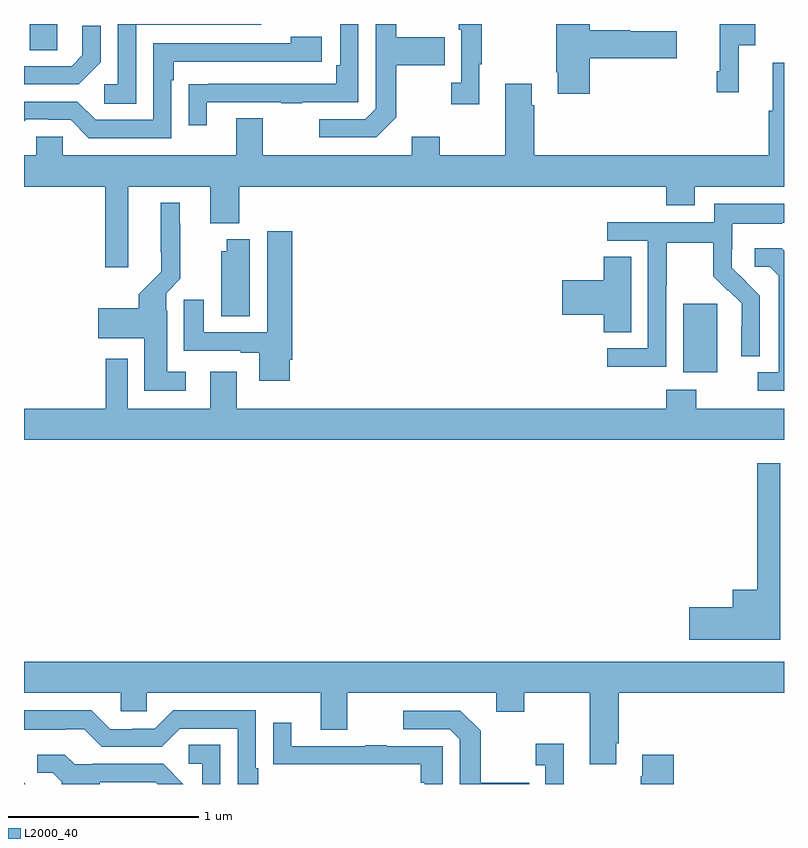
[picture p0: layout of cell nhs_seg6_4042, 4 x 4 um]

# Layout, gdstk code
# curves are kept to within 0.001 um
import gdstk
lib = gdstk.Library(unit=1e-6, precision=1e-09)
def R(c, l, rs):  # rectangles x0, y0, x1, y1
    for r in rs: c.add(gdstk.rectangle(r[:2], r[2:], *l))
def P(c, l, *ps):  # polygons
    for p in ps: c.add(gdstk.Polygon(p, *l))
L2000_40 = (2000, 40)

nhs_seg6_4042 = lib.new_cell('nhs_seg6_4042')
R(nhs_seg6_4042, L2000_40, [(352.469,971.666,352.648,972.027), (349.031,973.363,349.176,973.5)])
P(nhs_seg6_4042, L2000_40, [(349.963,973.089),(350.353,973.089),(350.353,973.084),(350.465,973.084),(350.465,973.089),(350.76,973.089),(350.76,973.5),(350.664,973.5),(350.664,973.282),(350.644,973.282),(350.644,973.185),(349.969,973.185),(349.969,973.184),(349.867,973.184),(349.867,972.966),(349.963,972.966)],
  [(349.59,973.497),(350.249,973.497),(350.249,973.5),(349.494,973.5),(349.494,973.182),(349.422,973.182),(349.422,973.081),(349.59,973.081)],
  [(352.763,973.388),(352.849,973.388),(352.849,973.5),(352.663,973.5),(352.663,973.252),(352.645,973.252),(352.645,973.14),(352.763,973.14)],
  [(351.977,973.319),(352.435,973.319),(352.435,973.461),(352.191,973.461),(352.191,973.466),(351.977,973.466),(351.977,973.5),(351.802,973.5),(351.802,973.246),(351.809,973.246),(351.809,973.134),(351.977,973.134)],
  [(350.959,973.009),(350.959,973.282),(351.215,973.282),(351.215,973.429),(350.959,973.429),(350.959,973.5),(350.85,973.5),(350.85,973.053),(350.796,972.999),(350.553,972.999),(350.553,972.903),(350.853,972.903)],
  [(351.397,973.289),(351.409,973.289),(351.409,973.5),(351.288,973.5),(351.288,973.469),(351.3,973.469),(351.3,973.19),(351.249,973.19),(351.249,973.077),(351.397,973.077)],
  [(349.404,973.298),(349.404,973.492),(349.307,973.492),(349.307,973.335),(349.25,973.278),(349,973.278),(349,973.182),(349.288,973.182)],
  [(349.776,973.205),(349.789,973.205),(349.789,973.302),(350.566,973.302),(350.566,973.432),(350.405,973.432),(350.405,973.398),(349.68,973.398),(349.68,972.996),(349.377,972.996),(349.281,973.092),(349,973.092),(349,972.988),(349.011,972.999),(349.127,972.999),(349.127,972.996),(349.245,972.996),(349.341,972.9),(349.776,972.9)],
  [(349.549,972.644),(349.979,972.644),(349.979,972.452),(350.132,972.452),(350.132,972.644),(352.379,972.644),(352.379,972.545),(352.531,972.545),(352.531,972.644),(353,972.644),(353,973.297),(352.94,973.297),(352.94,973.044),(352.921,973.044),(352.921,972.808),(351.686,972.808),(351.686,973.073),(351.673,973.073),(351.673,973.186),(351.533,973.186),(351.533,972.808),(351.189,972.808),(351.189,972.907),(351.041,972.907),(351.041,972.808),(350.257,972.808),(350.257,973.003),(350.117,973.003),(350.117,972.808),(349.203,972.808),(349.203,972.906),(349.065,972.906),(349.065,972.808),(349,972.808),(349,972.644),(349.427,972.644),(349.427,972.219),(349.549,972.219)],
  [(349.852,971.671),(349.753,971.671),(349.753,971.99),(349.749,971.99),(349.749,972.084),(349.823,972.158),(349.823,972.449),(349.819,972.449),(349.819,972.559),(349.721,972.559),(349.722,972.196),(349.604,972.078),(349.604,972.004),(349.392,972.004),(349.392,971.846),(349.634,971.846),(349.634,971.57),(349.852,971.57)],
  [(352.38,972.124),(352.383,972.124),(352.383,972.348),(352.627,972.348),(352.627,972.173),(352.704,972.096),(352.707,972.099),(352.778,972.029),(352.778,971.906),(352.776,971.906),(352.776,971.752),(352.872,971.752),(352.872,972.07),(352.726,972.218),(352.726,972.315),(352.728,972.315),(352.728,972.449),(352.991,972.449),(352.991,972.453),(353,972.453),(353,972.553),(352.632,972.553),(352.632,972.456),(352.071,972.456),(352.071,972.36),(352.284,972.36),(352.284,971.793),(352.071,971.793),(352.071,971.695),(352.38,971.695)],
  [(350.398,971.734),(350.411,971.734),(350.411,972.409),(350.279,972.409),(350.279,971.877),(349.945,971.877),(349.945,972.049),(349.841,972.049),(349.841,971.781),(350.141,971.781),(350.141,971.769),(350.237,971.769),(350.237,971.622),(350.398,971.622)],
  [(350.188,972.367),(350.066,972.367),(350.066,972.303),(350.039,972.303),(350.039,971.962),(350.188,971.962)],
  [(353,972.307),(352.988,972.319),(352.845,972.319),(352.845,972.222),(352.926,972.222),(352.973,972.175),(352.973,971.667),(352.863,971.667),(352.863,971.571),(353,971.571)],
  [(352.195,972.275),(352.052,972.275),(352.052,972.152),(351.834,972.152),(351.834,971.969),(352.052,971.969),(352.052,971.878),(352.195,971.878)],
  [(353,971.476),(352.539,971.476),(352.539,971.575),(352.379,971.575),(352.379,971.476),(350.119,971.476),(350.119,971.671),(349.979,971.671),(349.979,971.476),(349.545,971.476),(349.545,971.737),(349.429,971.737),(349.429,971.476),(349,971.476),(349,971.312),(353,971.312)],
  [(352.981,971.188),(352.86,971.188),(352.86,970.522),(352.73,970.522),(352.73,970.43),(352.5,970.43),(352.5,970.259),(352.981,970.259)],
  [(349,969.98),(349.509,969.98),(349.509,969.882),(349.647,969.882),(349.647,969.98),(350.561,969.98),(350.561,969.786),(350.701,969.786),(350.701,969.98),(351.485,969.98),(351.485,969.881),(351.633,969.881),(351.633,969.98),(351.977,969.98),(351.977,969.603),(352.117,969.603),(352.117,969.715),(352.13,969.715),(352.13,969.98),(353,969.98),(353,970.144),(349,970.144)],
  [(350.233,969.583),(350.22,969.583),(350.22,969.888),(349.785,969.888),(349.689,969.792),(349.571,969.792),(349.571,969.789),(349.455,969.789),(349.355,969.889),(349,969.889),(349,969.785),(349.217,969.785),(349.217,969.789),(349.317,969.789),(349.41,969.696),(349.725,969.696),(349.821,969.792),(350.124,969.792),(350.124,969.5),(350.233,969.5)],
  [(351.659,969.507),(351.403,969.507),(351.403,969.779),(351.297,969.885),(350.997,969.885),(350.997,969.789),(351.24,969.789),(351.294,969.735),(351.294,969.5),(351.659,969.5)],
  [(351.204,969.699),(350.909,969.699),(350.909,969.704),(350.797,969.704),(350.797,969.699),(350.407,969.699),(350.407,969.823),(350.311,969.823),(350.311,969.604),(350.413,969.604),(350.413,969.603),(351.088,969.603),(351.088,969.506),(351.108,969.506),(351.108,969.5),(351.204,969.5)],
  [(351.841,969.712),(351.693,969.712),(351.693,969.599),(351.744,969.599),(351.744,969.5),(351.841,969.5)],
  [(350.034,969.707),(349.866,969.707),(349.866,969.606),(349.938,969.606),(349.938,969.5),(350.034,969.5)],
  [(349.399,969.51),(349.694,969.51),(349.704,969.5),(349.838,969.5),(349.732,969.606),(349.36,969.606),(349.36,969.603),(349.266,969.603),(349.214,969.655),(349.071,969.655),(349.071,969.558),(349.152,969.558),(349.199,969.511),(349.199,969.5),(349.399,969.5)],
  [(352.421,969.655),(352.253,969.655),(352.253,969.542),(352.246,969.542),(352.246,969.5),(352.421,969.5)],
  [(349,969.506),(349,969.5),(349.006,969.5)])

lib.write_gds('nhs_seg6_4042.gds')
